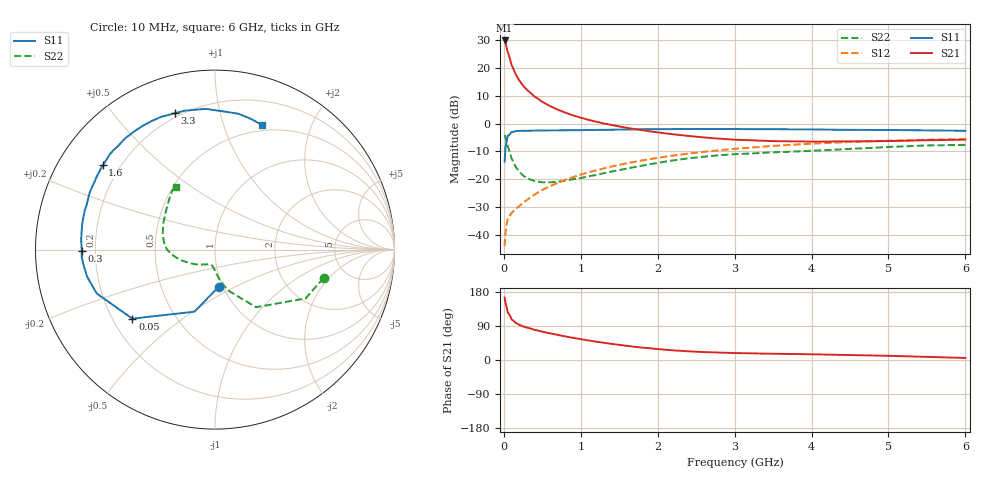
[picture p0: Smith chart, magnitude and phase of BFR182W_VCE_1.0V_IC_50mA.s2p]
! Infineon Technologies  Discrete & RF Semiconductors
! BFR182W
! VCE =  1.0 V,  IC =  50 mA
! Common Emitter S-Parameters:  Jan 2017
# GHz  S  MA  R  50
!  f  S11  S21  S12  S22
! GHz  MAG  ANG  MAG  ANG  MAG  ANG  MAG  ANG
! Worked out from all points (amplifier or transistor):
!   77 points, 10 MHz to 6 GHz, reference 50 ohm
!   highest |S21| = 29.9 dB at 10 MHz (marker M1)
!   |S21| within 3 dB of that: start of sweep to 39.72 MHz
!   unconditionally stable (mu >= 1): start of sweep to 17.63 MHz; 145 MHz to end of sweep
!   at 130 MHz: K = 0.94, MSG = 25.4 dB, |S12| = -31.4 dB
!   at 2.2 GHz: K = 1.20, MAG = 1.1 dB, |S12| = -11.5 dB
!   at 6 GHz: K = 1.13, MAG = -2.3 dB, |S12| = -5.6 dB
!   S11 on the Smith chart (normalised r, x): 10 MHz: 0.96, -0.41; 50 MHz: 0.28, -0.34; 300 MHz: 0.15, -0.00; 1.6 GHz: 0.14, +0.33; 3.3 GHz: 0.18, +0.73; 6 GHz: 0.44, +1.35
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0.01  0.2071 -84.0  31.39 164.9  0.0062 58.3  0.6254 -14.6
0.02  0.3642 -108.3  29.1 151.7  0.0105 60.1  0.5737 -28.3
0.05  0.5999 -140.1  19.53 125.4  0.0191 46.3  0.3939 -54.6
0.1  0.7027 -159.6  11.41 107.1  0.0245 45.2  0.2365 -72.7
0.15  0.729 -168.2  7.901 98.5  0.0286 49.0  0.1699 -81.2
0.2  0.737 -173.2  5.997 92.9  0.0326 53.2  0.137 -86.3
0.25  0.7438 -176.8  4.834 88.6  0.0376 56.3  0.1162 -89.9
0.3  0.7425 -179.6  4.038 85.4  0.0419 59.6  0.1039 -93.5
0.4  0.7475 175.9  3.061 79.5  0.0526 63.9  0.0921 -99.1
0.5  0.7498 172.3  2.461 74.7  0.0637 65.8  0.0878 -104.7
0.6  0.7535 169.0  2.068 70.3  0.0748 67.3  0.0876 -109.7
0.8  0.7575 163.3  1.57 62.1  0.0974 69.3  0.0941 -118.9
0.9  0.7576 160.5  1.403 58.4  0.1085 69.1  0.0994 -123.6
1.1  0.7671 155.4  1.17 51.7  0.1325 68.6  0.1122 -131.7
1.3  0.7706 150.3  1.005 45.5  0.1557 67.3  0.1277 -139.6
1.6  0.7829 143.1  0.838 37.3  0.1931 64.6  0.1548 -150.2
2.1  0.793 131.2  0.667 27.2  0.2533 58.7  0.2062 -165.0
3.1  0.7953 110.3  0.507 18.0  0.3597 45.0  0.2849 172.7
3.3  0.792 106.3  0.495 17.2  0.3776 42.3  0.2935 168.3
4.1  0.7818 92.2  0.475 14.7  0.441 31.6  0.3281 150.0
5.1  0.7648 79.0  0.487 10.5  0.4947 19.5  0.3839 131.1
6  0.7416 69.4  0.514 5.4  0.5269 10.1  0.4127 121.6
